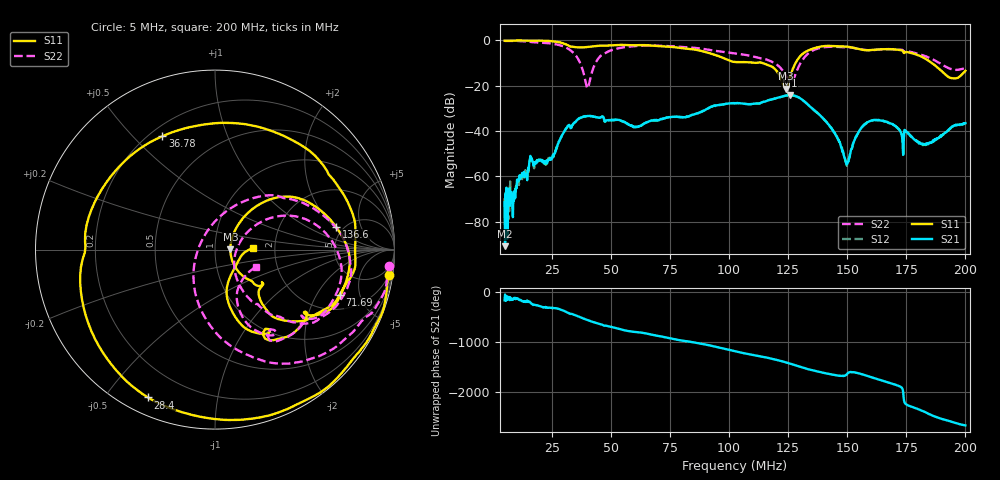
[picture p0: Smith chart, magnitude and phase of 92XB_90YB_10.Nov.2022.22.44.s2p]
!Keysight Technologies N9917A: A.12.46
!Date: Thursday, 10 November 2022 22:44:37
!Timezone: (UTC) Coordinated Universal Time
!Model: N9917A
!Serial: MY56071016
!GPS Latitude:
!GPS Longitude:
!GPS TimeStamp: 0001-01-01 00:00:00Z
!GPS Seconds Since Last Read: 0
!CHECKSUM:1747683082
!Correction: S11(ON U)S21(ON U)S12(ON U)S22(ON U)
!S2P File: Measurements:S11,S21,S12,S22:
# Hz S DB R 50
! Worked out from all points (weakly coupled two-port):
!   1001 points, 5 MHz to 200 MHz, reference 50 ohm
!   highest |S21| = -24.17 dB at 125.7 MHz (marker M1); lowest = -90.9 dB at 5.195 MHz (marker M2)
!   lowest |S11| = -21.3 dB at 124 MHz (marker M3), VSWR 1.19, Z = 59.4 + j0.137 ohm
!   |S11| at or under -10 dB: 114.1 MHz to 128.1 MHz (14.06 MHz wide, 11.6 % of centre); 185.8 MHz to end of sweep
!   |S22| runs from -21.1 to -0.2 dB; largest |S21 - S12| = 0.00096
!   S11 on the Smith chart (normalised r, x): 5 MHz: 2, -14; 28.4 MHz: 0.07, -0.64; 36.78 MHz: 0.25, +0.61; 71.69 MHz: 2.90, -3.21; 136.6 MHz: 4.35, +2.08; 200 MHz: 1.54, +0.03
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5000000  -0.18 -8.2  -71.46 -166.9  -69.71 8.3  -0.23 -5.2
5195000  -0.20 -8.6  -90.88 -51.8  -78.54 -8.3  -0.24 -5.6
1.9625e7  -0.08 -50.2  -52.96 79.0  -53.17 78.8  -0.93 -30.1
2.84e7  -0.87 -114.4  -43.87 13.3  -43.87 12.2  -2.15 -53.5
3.2495e7  -2.63 -175.9  -37.54 -75.0  -37.66 -75.0  -4.13 -72.0
3.6785e7  -3.15 114.9  -34.34 -141.3  -34.32 -141.4  -9.60 -104.9
3.7565e7  -3.15 104.4  -33.99 -157.1  -34.02 -156.4  -11.58 -114.7
4.0295e7  -2.85 74.9  -33.39 153.6  -33.37 153.2  -20.94 142.2
4.9265e7  -2.24 26.3  -35.34 29.7  -35.12 28.9  -4.72 24.5
7.013e7  -2.55 -17.3  -35.30 -161.4  -35.29 -161.2  -2.36 -18.4
7.169e7  -2.64 -19.9  -34.81 -175.3  -34.67 -175.6  -2.42 -20.7
1.025e8  -9.55 -42.3  -27.85 -106.4  -27.80 -106.7  -5.77 -46.4
1.1771e8  -11.42 -40.6  -26.14 106.3  -26.15 106.1  -9.24 -54.9
1.2395e8  -21.34 0.8  -24.41 31.2  -24.45 31.2  -15.38 -49.0
1.25705e8  -16.51 43.0  -24.17 5.6  -24.22 5.7  -18.51 -23.9
1.35065e8  -3.78 17.4  -29.98 -125.9  -29.95 -126.0  -4.69 13.4
1.36625e8  -3.26 10.6  -31.38 -143.1  -31.34 -143.4  -3.92 6.7
1.49885e8  -2.74 -26.5  -54.21 152.7  -55.35 155.5  -3.04 -29.1
1.571e8  -4.27 -35.5  -37.23 139.7  -37.52 138.9  -4.18 -37.4
1.6763e8  -3.88 -44.3  -36.50 -15.2  -36.37 -15.5  -3.85 -43.9
1.8284e8  -7.98 -72.9  -45.93 117.6  -45.98 114.5  -6.90 -66.3
2e8  -13.48 2.1  -36.54 -153.6  -36.39 -153.7  -12.14 -23.0
